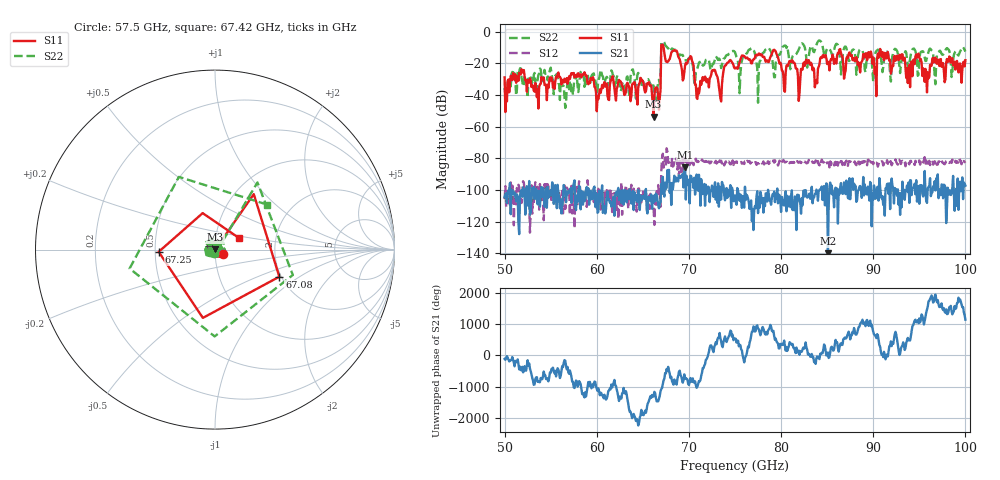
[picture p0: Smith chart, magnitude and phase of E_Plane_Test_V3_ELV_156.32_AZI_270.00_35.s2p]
! 11/26/2026 4:22:49 PM
! C:\ANRITSUVNA\TEMP\TEMP.S2P
! CHANNEL.1
! TR.MEASUREMENT
! RAW.DATA
# HZ S RI R 50.0
! FREQ.HZ  S11RE  S11IM  S21RE  S21IM  S12RE  S12IM  S22RE  S22IM
!; PortSelection: Port_12
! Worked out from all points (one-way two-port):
!   601 points, 50 GHz to 100 GHz, reference 50 ohm
!   highest |S21| = -85.74 dB at 69.58 GHz (marker M1); lowest = -140.0 dB at 85.08 GHz (marker M2)
!   lowest |S11| = -53.8 dB at 66.17 GHz (marker M3), VSWR 1.00, Z = 50.1 + j0.149 ohm
!   |S11| at or under -10 dB: start of sweep to 67 GHz; 67.25 GHz to end of sweep
!   |S22| runs from -48.3 to -5.6 dB; largest |S21 - S12| = 0.00021
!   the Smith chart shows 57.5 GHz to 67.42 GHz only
!   S11 on the Smith chart (normalised r, x): 57.5 GHz: 1.09, -0.05; 67.08 GHz: 1.95, -0.69; 67.25 GHz: 0.52, -0.01; 67.42 GHz: 1.29, +0.17
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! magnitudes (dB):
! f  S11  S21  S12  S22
! 50 GHz  -28.9  -104.7  -105.9  -35.6
! 57.5 GHz  -26.1  -96.4  -107.9  -34.6
! 58.42 GHz  -27.2  -102.5  -109.2  -24.8
! 60.17 GHz  -42.7  -113.9  -99.3  -30.4
! 66.17 GHz  -53.8  -108.0  -112.4  -34.0
! 66.67 GHz  -41.5  -109.7  -96.9  -31.6
! 67.08 GHz  -8.2  -102.4  -79.8  -6.8
! 67.25 GHz  -10.1  -100.9  -85.9  -6.2
! 67.42 GHz  -16.6  -95.4  -79.5  -8.3
! 69.58 GHz  -21.3  -85.7  -80.1  -18.1
! 70.25 GHz  -15.9  -91.4  -80.7  -18.8
! 70.92 GHz  -42.5  -94.0  -82.4  -23.2
! 75 GHz  -23.3  -103.5  -82.9  -13.0
! 79.25 GHz  -11.5  -101.1  -82.8  -28.9
! 80.25 GHz  -27.8  -109.1  -81.1  -9.3
! 83.42 GHz  -24.4  -108.5  -82.8  -10.8
! 85.08 GHz  -19.0  -140.0  -83.0  -10.4
! 91.67 GHz  -16.6  -102.6  -81.6  -15.2
! 93.75 GHz  -32.5  -101.4  -81.6  -21.3
! 94.83 GHz  -15.1  -101.0  -81.7  -27.9
! 95.83 GHz  -38.4  -108.2  -83.4  -16.5
! 100 GHz  -18.1  -97.3  -82.9  -12.6
